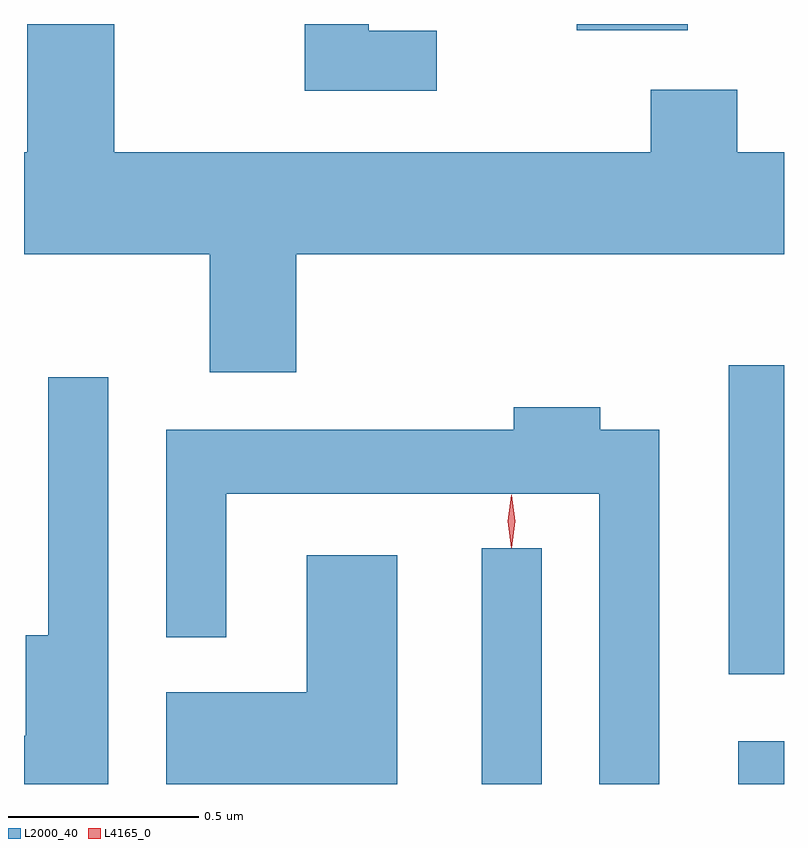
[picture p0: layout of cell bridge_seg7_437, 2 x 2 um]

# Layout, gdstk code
import gdstk
lib = gdstk.Library(unit=1e-6, precision=1e-09)
def R(c, l, rs):  # rectangles x0, y0, x1, y1
    for r in rs: c.add(gdstk.rectangle(r[:2], r[2:], *l))
def P(c, l, *ps):  # polygons
    for p in ps: c.add(gdstk.Polygon(p, *l))
L2000_40 = (2000, 40)
L4165_0 = (4165, 0)

bridge_seg7_437 = lib.new_cell('bridge_seg7_437')
R(bridge_seg7_437, L2000_40, [(1071.196,1719.582,1071.354,1720.203), (1071.871,1719.582,1071.992,1719.694), (1071.846,1719.871,1071.992,1720.684), (1071.446,1721.566,1071.739,1721.582)])
P(bridge_seg7_437, L2000_40, [(1070.709,1720.976),(1071.992,1720.976),(1071.992,1721.244),(1071.869,1721.244),(1071.869,1721.409),(1071.641,1721.409),(1071.641,1721.244),(1070.229,1721.244),(1070.229,1721.582),(1070.001,1721.582),(1070.001,1721.244),(1069.992,1721.244),(1069.992,1720.976),(1070.481,1720.976),(1070.481,1720.666),(1070.709,1720.666)],
  [(1071.078,1721.564),(1070.899,1721.564),(1070.899,1721.582),(1070.731,1721.582),(1070.731,1721.406),(1071.078,1721.406)],
  [(1070.214,1720.653),(1070.056,1720.653),(1070.056,1719.974),(1069.996,1719.974),(1069.996,1719.709),(1069.992,1719.709),(1069.992,1719.582),(1070.214,1719.582)],
  [(1071.664,1720.514),(1071.509,1720.514),(1071.509,1720.574),(1071.281,1720.574),(1071.281,1720.514),(1070.366,1720.514),(1070.366,1719.968),(1070.524,1719.968),(1070.524,1720.346),(1071.506,1720.346),(1071.506,1719.582),(1071.664,1719.582)],
  [(1070.974,1720.184),(1070.736,1720.184),(1070.736,1719.824),(1070.366,1719.824),(1070.366,1719.582),(1070.974,1719.582)])
P(bridge_seg7_437, L4165_0, [(1071.275,1720.203),(1071.274,1720.204),(1071.265,1720.273),(1071.274,1720.342),(1071.275,1720.343),(1071.275,1720.342),(1071.285,1720.273),(1071.275,1720.204)],
  [(1071.274,1720.207),(1071.265,1720.274),(1071.274,1720.34),(1071.275,1720.34),(1071.275,1720.34),(1071.285,1720.274),(1071.275,1720.207),(1071.275,1720.207)])

lib.write_gds('bridge_seg7_437.gds')
